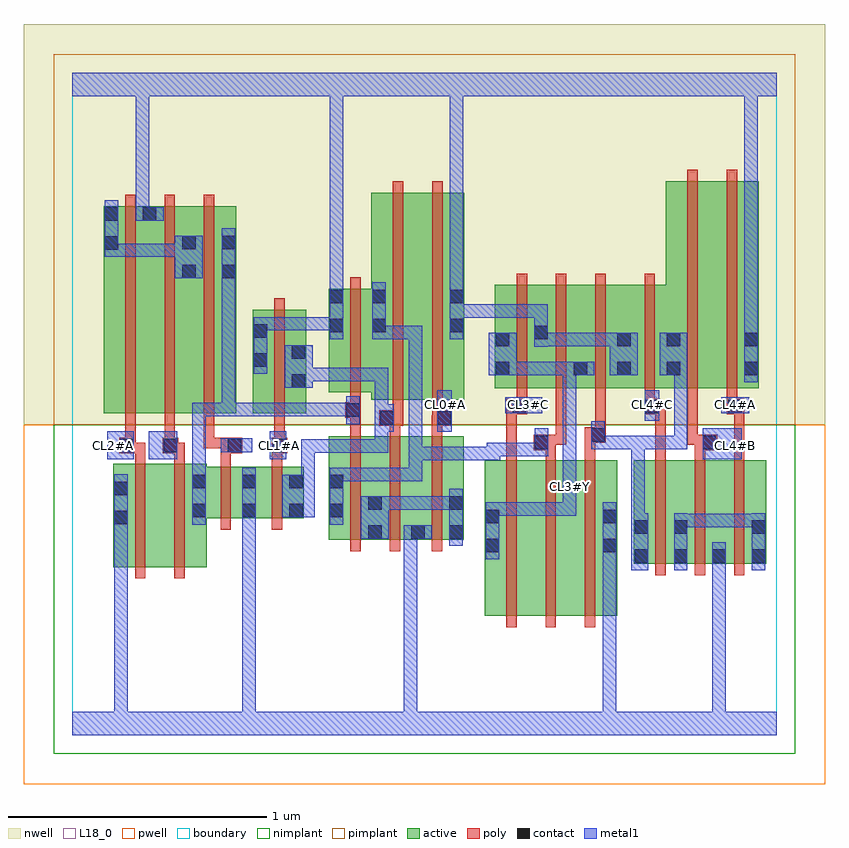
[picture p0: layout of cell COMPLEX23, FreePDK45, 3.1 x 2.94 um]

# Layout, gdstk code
import gdstk
lib = gdstk.Library(unit=1e-6, precision=1e-09)
def R(c, l, rs):  # rectangles x0, y0, x1, y1
    for r in rs: c.add(gdstk.rectangle(r[:2], r[2:], *l))
def A(c, l, x, y, w, h, nx, ny, dx, dy):  # array of equal rectangles
    R(c, l, [(x+i*dx, y+j*dy, x+i*dx+w, y+j*dy+h) for i in range(nx) for j in range(ny)])
active = (1, 0)
pwell = (2, 0)
nwell = (3, 0)
nimplant = (4, 0)
pimplant = (5, 0)
poly = (9, 0)
contact = (10, 0)
metal1 = (11, 0)
L18_0 = (18, 0)
boundary = (235, 0)

complex23 = lib.new_cell('COMPLEX23')
R(complex23, active, [(1.592,0.462,1.772,1.062), (1.772,0.462,1.924,1.062), (1.924,0.462,2.104,1.062), (1.592,0.504,1.652,1.062), (2.044,0.504,2.104,1.062), (0.158,0.65,0.338,1.05), (0.338,0.65,0.518,1.05), (2.168,0.662,2.228,1.062), (2.168,0.662,2.38,1.062), (2.32,0.662,2.528,1.062), (2.32,0.662,2.38,0.834), (2.468,0.662,2.68,1.062), (2.468,0.662,2.528,0.874), (2.62,0.662,2.68,1.062), (0.158,0.756,0.218,1.05), (0.99,0.756,1.05,1.156), (0.99,0.756,1.198,1.156), (1.138,0.756,1.364,1.156), (1.138,0.756,1.198,0.96), (1.304,0.756,1.512,1.156), (1.304,0.756,1.364,0.816), (1.452,0.756,1.512,1.156), (0.458,0.838,0.712,1.038), (0.458,0.838,0.518,1.022), (0.652,0.838,0.712,1.01), (0.652,0.838,0.894,1.038), (0.834,0.838,0.894,1.038), (0.12,1.244,0.18,2.044), (0.12,1.244,0.328,2.044), (0.268,1.244,0.48,2.044), (0.42,1.244,0.632,2.044), (0.572,1.244,0.632,2.044), (0.696,1.244,0.756,1.644), (0.696,1.244,0.904,1.644), (0.844,1.244,0.904,1.644), (1.154,1.296,1.334,2.096), (1.334,1.296,1.514,2.096), (1.454,1.296,1.514,2.044), (0.268,1.314,0.328,2.044), (0.42,1.314,0.48,2.044), (0.99,1.326,1.05,1.726), (0.99,1.326,1.214,1.726), (1.632,1.34,1.84,1.74), (1.632,1.34,1.692,1.644), (1.78,1.34,1.992,1.74), (1.78,1.34,1.84,1.644), (1.932,1.34,1.992,1.644), (1.932,1.34,2.16,1.74), (2.1,1.34,2.16,1.644), (2.1,1.34,2.352,1.74), (2.292,1.34,2.472,2.14), (2.292,1.34,2.352,1.644), (2.472,1.34,2.652,2.14), (2.592,1.34,2.652,2.044), (1.154,1.384,1.214,2.078)])
R(complex23, pwell, [(-0.188,-0.188,2.908,1.2)])
R(complex23, nwell, [(-0.188,1.2,2.908,2.748)])
R(complex23, nimplant, [(-0.072,-0.072,2.792,1.2)])
R(complex23, pimplant, [(-0.072,1.2,2.792,2.632)])
A(complex23, poly, 1.676, 0.418, 0.04, 0.688, 3, 1, 0.152, 0)
A(complex23, poly, 2.252, 0.618, 0.04, 0.488, 3, 1, 0.152, 0)
A(complex23, poly, 0.204, 1.11, 0.04, 0.13, 3, 1, 0.152, 0)
A(complex23, poly, 0.204, 1.2, 0.04, 0.888, 3, 1, 0.152, 0)
A(complex23, poly, 1.716, 1.296, 0.04, 0.488, 3, 1, 0.152, 0)
R(complex23, poly, [(0.242,0.606,0.282,1.094), (0.394,0.606,0.434,1.094), (1.074,0.712,1.114,1.2), (1.226,0.712,1.266,1.2), (1.388,0.712,1.428,1.2), (0.572,0.794,0.612,1.082), (0.77,0.794,0.81,1.082), (0.572,1.042,0.612,1.13), (0.77,1.042,0.81,1.13), (0.242,1.054,0.282,1.13), (0.394,1.054,0.434,1.13), (1.676,1.066,1.716,1.28), (1.828,1.066,1.868,1.142), (1.98,1.066,2.02,1.17), (2.252,1.066,2.292,1.28), (2.404,1.066,2.444,1.142), (2.556,1.066,2.596,1.28), (0.18,1.09,0.244,1.15), (0.204,1.09,0.244,1.13), (0.204,1.09,0.282,1.13), (0.348,1.09,0.408,1.15), (0.368,1.09,0.408,1.13), (0.368,1.09,0.434,1.13), (0.572,1.09,0.656,1.15), (0.77,1.09,0.83,1.15), (1.782,1.102,1.868,1.162), (2.404,1.102,2.49,1.162), (0.508,1.11,0.612,1.15), (0.572,1.11,0.612,1.15), (0.78,1.11,0.82,1.15), (0.78,1.11,0.82,1.15), (0.78,1.11,0.82,1.24), (1.828,1.122,1.868,1.162), (1.828,1.122,1.908,1.162), (1.868,1.122,1.908,1.336), (2.376,1.122,2.416,1.336), (2.376,1.122,2.444,1.162), (2.404,1.122,2.444,1.162), (1.98,1.13,2.06,1.19), (2.02,1.15,2.06,1.3), (1.074,1.16,1.114,1.266), (1.226,1.16,1.266,1.236), (1.388,1.16,1.428,1.236), (1.186,1.196,1.278,1.256), (1.226,1.196,1.266,1.236), (1.226,1.196,1.266,1.236), (1.388,1.196,1.43,1.236), (1.39,1.196,1.43,1.236), (1.39,1.196,1.466,1.256), (0.78,1.2,0.82,1.688), (1.238,1.216,1.278,1.292), (1.39,1.216,1.43,1.292), (1.054,1.226,1.114,1.286), (1.074,1.226,1.114,1.266), (1.074,1.226,1.114,1.266), (1.676,1.24,1.716,1.28), (1.676,1.24,1.716,1.28), (1.676,1.24,1.756,1.3), (2.21,1.24,2.27,1.3), (2.23,1.24,2.27,1.28), (2.23,1.24,2.292,1.28), (2.528,1.24,2.596,1.3), (2.556,1.24,2.596,1.28), (2.556,1.24,2.596,1.28), (1.074,1.246,1.114,1.322), (1.238,1.252,1.278,2.14), (1.39,1.252,1.43,2.14), (1.716,1.26,1.756,1.336), (2.02,1.26,2.06,1.336), (2.02,1.26,2.06,1.3), (2.21,1.26,2.25,1.336), (2.528,1.26,2.568,1.336), (1.074,1.282,1.114,1.77), (2.21,1.296,2.25,1.784), (2.376,1.296,2.416,2.184), (2.528,1.296,2.568,2.184)])
R(complex23, contact, [(2.172,0.666,2.224,0.718), (2.324,0.666,2.376,0.718), (2.472,0.666,2.524,0.718), (2.624,0.666,2.676,0.718), (1.596,0.708,1.648,0.76), (2.048,0.708,2.1,0.76), (1.142,0.76,1.194,0.812), (1.308,0.76,1.36,0.812), (1.456,0.76,1.508,0.812), (2.172,0.778,2.224,0.83), (2.324,0.778,2.376,0.83), (2.624,0.778,2.676,0.83), (0.162,0.816,0.214,0.868), (1.596,0.82,1.648,0.872), (2.048,0.82,2.1,0.872), (0.462,0.842,0.514,0.894), (0.656,0.842,0.708,0.894), (0.838,0.842,0.89,0.894), (0.994,0.842,1.046,0.894), (1.142,0.872,1.194,0.924), (1.456,0.872,1.508,0.924), (0.162,0.928,0.214,0.98), (0.462,0.954,0.514,1.006), (0.656,0.954,0.708,1.006), (0.838,0.954,0.89,1.006), (0.994,0.954,1.046,1.006), (0.184,1.094,0.236,1.146), (0.352,1.094,0.404,1.146), (0.6,1.094,0.652,1.146), (0.774,1.094,0.826,1.146), (1.786,1.106,1.838,1.158), (2.434,1.106,2.486,1.158), (2.004,1.134,2.056,1.186), (1.19,1.2,1.242,1.252), (1.41,1.2,1.462,1.252), (1.058,1.23,1.11,1.282), (1.7,1.244,1.752,1.296), (2.214,1.244,2.266,1.296), (2.534,1.244,2.586,1.296), (0.848,1.342,0.9,1.394), (1.636,1.392,1.688,1.444), (1.936,1.392,1.988,1.444), (2.104,1.392,2.156,1.444), (2.296,1.392,2.348,1.444), (2.596,1.392,2.648,1.444), (0.7,1.424,0.752,1.476), (0.848,1.454,0.9,1.506), (1.636,1.504,1.688,1.556), (2.104,1.504,2.156,1.556), (2.296,1.504,2.348,1.556), (2.596,1.504,2.648,1.556), (1.784,1.53,1.836,1.582), (0.7,1.536,0.752,1.588), (0.994,1.558,1.046,1.61), (1.158,1.558,1.21,1.61), (1.458,1.558,1.51,1.61), (0.994,1.67,1.046,1.722), (1.158,1.67,1.21,1.722), (1.458,1.67,1.51,1.722), (0.424,1.766,0.476,1.818), (0.576,1.766,0.628,1.818), (0.124,1.876,0.176,1.928), (0.424,1.878,0.476,1.93), (0.576,1.878,0.628,1.93), (0.124,1.988,0.176,2.04), (0.272,1.988,0.324,2.04)])
R(complex23, metal1, [(0,0,2.72,0.092), (0.162,0.04,0.214,0.092), (0.162,0.04,0.214,0.092), (0.162,0.04,0.214,0.092), (0.162,0.04,0.214,0.092), (0.162,0.04,0.214,0.092), (0.162,0.04,0.214,0.092), (0.162,0.04,0.214,0.092), (0.162,0.04,0.214,0.092), (0.162,0.04,0.214,0.092), (0.162,0.04,0.214,0.092), (0.162,0.04,0.214,0.84), (0.656,0.04,0.708,0.092), (0.656,0.04,0.708,0.092), (0.656,0.04,0.708,0.092), (0.656,0.04,0.708,0.092), (0.656,0.04,0.708,0.092), (0.656,0.04,0.708,0.092), (0.656,0.04,0.708,0.092), (0.656,0.04,0.708,0.092), (0.656,0.04,0.708,0.092), (0.656,0.04,0.708,0.092), (0.656,0.04,0.708,0.092), (0.656,0.04,0.708,0.092), (0.656,0.04,0.708,0.092), (0.656,0.04,0.708,0.092), (0.656,0.04,0.708,0.866), (1.28,0.04,1.332,0.812), (2.048,0.04,2.1,0.092), (2.048,0.04,2.1,0.092), (2.048,0.04,2.1,0.732), (2.472,0.04,2.524,0.092), (2.472,0.04,2.524,0.092), (2.472,0.04,2.524,0.092), (2.472,0.04,2.524,0.092), (2.472,0.04,2.524,0.092), (2.472,0.04,2.524,0.092), (2.472,0.04,2.524,0.092), (2.472,0.04,2.524,0.092), (2.472,0.04,2.524,0.092), (2.472,0.04,2.524,0.092), (2.472,0.04,2.524,0.092), (2.472,0.04,2.524,0.092), (2.472,0.04,2.524,0.69), (2.158,0.638,2.224,0.858), (2.324,0.638,2.376,0.858), (2.472,0.638,2.524,0.746), (2.624,0.638,2.676,0.858), (1.596,0.68,1.648,0.9), (2.048,0.68,2.1,0.732), (2.048,0.68,2.1,0.732), (2.048,0.68,2.1,0.732), (2.048,0.68,2.1,0.732), (2.048,0.68,2.1,0.732), (2.048,0.68,2.1,0.732), (2.048,0.68,2.1,0.9), (1.456,0.732,1.508,0.952), (1.114,0.76,1.222,0.924), (1.28,0.76,1.332,0.812), (1.28,0.76,1.332,0.812), (1.28,0.76,1.332,0.812), (1.28,0.76,1.332,0.812), (1.28,0.76,1.332,0.812), (1.28,0.76,1.332,0.812), (1.28,0.76,1.332,0.812), (1.28,0.76,1.332,0.812), (1.28,0.76,1.332,0.812), (1.28,0.76,1.332,0.812), (1.28,0.76,1.332,0.812), (1.28,0.76,1.332,0.812), (1.28,0.76,1.388,0.812), (0.162,0.788,0.214,0.84), (0.162,0.788,0.214,0.84), (0.162,0.788,0.214,1.008), (2.324,0.804,2.376,0.856), (2.324,0.804,2.376,0.856), (2.324,0.804,2.538,0.856), (2.486,0.804,2.538,0.856), (2.486,0.804,2.538,0.856), (2.486,0.804,2.538,0.856), (2.486,0.804,2.676,0.856), (2.158,0.806,2.21,1.158), (0.462,0.814,0.514,1.034), (0.656,0.814,0.708,0.866), (0.656,0.814,0.708,0.866), (0.656,0.814,0.708,1.034), (0.994,0.814,1.046,1.034), (0.81,0.842,0.936,1.006), (1.596,0.848,1.648,0.9), (1.596,0.848,1.648,0.9), (1.596,0.848,1.836,0.9), (1.784,0.848,1.836,0.9), (1.784,0.848,1.836,0.9), (1.784,0.848,1.836,0.9), (1.784,0.848,1.946,0.9), (1.894,0.848,1.946,0.9), (1.894,0.848,1.946,0.958), (1.17,0.872,1.222,0.924), (1.17,0.872,1.222,0.924), (1.17,0.872,1.332,0.924), (1.28,0.872,1.332,0.924), (1.28,0.872,1.41,0.924), (1.358,0.872,1.41,0.924), (1.358,0.872,1.508,0.924), (1.894,0.906,1.946,1.014), (0.884,0.954,0.936,1.144), (1.894,0.962,1.946,1.444), (0.462,0.982,0.514,1.034), (0.462,0.982,0.514,1.034), (0.462,0.982,0.514,1.284), (0.994,0.982,1.046,1.034), (0.994,0.982,1.046,1.034), (0.994,0.982,1.222,1.034), (1.17,0.982,1.222,1.034), (1.17,0.982,1.222,1.034), (1.17,0.982,1.222,1.034), (1.17,0.982,1.352,1.034), (1.3,0.982,1.352,1.034), (1.3,0.982,1.352,1.114), (1.3,1.062,1.352,1.114), (1.3,1.062,1.352,1.114), (1.3,1.062,1.352,1.114), (1.3,1.062,1.352,1.114), (1.3,1.062,1.352,1.114), (1.3,1.062,1.352,1.114), (1.3,1.062,1.352,1.114), (1.3,1.062,1.52,1.114), (1.3,1.062,1.352,1.582), (1.468,1.062,1.52,1.114), (1.468,1.062,1.52,1.114), (1.468,1.062,1.52,1.114), (1.468,1.062,1.652,1.114), (1.6,1.062,1.652,1.13), (0.134,1.066,0.236,1.174), (0.294,1.066,0.404,1.174), (0.762,1.066,0.826,1.174), (2.434,1.066,2.586,1.186), (1.6,1.078,1.836,1.13), (1.784,1.078,1.836,1.13), (1.784,1.078,1.838,1.13), (1.786,1.078,1.838,1.186), (0.884,1.092,0.936,1.144), (0.884,1.092,1.056,1.144), (1.004,1.092,1.056,1.144), (1.004,1.092,1.056,1.144), (1.004,1.092,1.056,1.144), (1.004,1.092,1.22,1.144), (1.168,1.092,1.22,1.144), (1.168,1.092,1.22,1.224), (0.572,1.094,0.694,1.148), (2.004,1.106,2.056,1.214), (2.004,1.106,2.1,1.158), (2.048,1.106,2.1,1.158), (2.048,1.106,2.21,1.158), (2.158,1.106,2.21,1.158), (2.158,1.106,2.21,1.158), (2.158,1.106,2.21,1.158), (2.158,1.106,2.376,1.158), (2.324,1.106,2.376,1.158), (2.324,1.106,2.376,1.444), (1.168,1.172,1.22,1.224), (1.168,1.172,1.242,1.224), (1.168,1.172,1.22,1.42), (1.19,1.172,1.242,1.28), (1.41,1.172,1.466,1.334), (1.058,1.202,1.11,1.31), (2.21,1.216,2.266,1.334), (0.462,1.232,0.514,1.284), (0.462,1.232,0.514,1.284), (0.462,1.232,0.514,1.284), (0.462,1.232,0.628,1.284), (0.576,1.232,0.628,1.284), (0.576,1.232,0.628,1.284), (0.576,1.232,0.628,1.284), (0.576,1.232,0.826,1.284), (0.576,1.232,0.628,1.79), (0.774,1.232,0.826,1.284), (0.774,1.232,0.936,1.284), (0.884,1.232,0.936,1.284), (0.884,1.232,0.936,1.284), (0.884,1.232,0.936,1.284), (0.884,1.232,1.11,1.284), (1.672,1.244,1.814,1.306), (2.506,1.244,2.614,1.306), (0.82,1.342,0.928,1.506), (2.596,1.364,2.648,1.584), (0.876,1.368,1.056,1.42), (1.004,1.368,1.056,1.42), (1.004,1.368,1.056,1.42), (1.004,1.368,1.056,1.42), (1.004,1.368,1.22,1.42), (1.168,1.368,1.22,1.42), (1.608,1.392,1.716,1.556), (1.664,1.392,1.716,1.444), (1.664,1.392,1.716,1.444), (1.664,1.392,1.826,1.444), (1.774,1.392,1.826,1.444), (1.774,1.392,1.826,1.444), (1.774,1.392,1.826,1.444), (1.774,1.392,1.96,1.444), (1.894,1.392,1.96,1.444), (1.908,1.392,1.96,1.444), (1.908,1.392,2.016,1.444), (2.076,1.392,2.184,1.556), (2.268,1.392,2.376,1.556), (2.324,1.392,2.376,1.444), (2.324,1.392,2.376,1.444), (0.7,1.396,0.752,1.616), (1.784,1.502,1.836,1.61), (1.784,1.504,1.836,1.556), (1.784,1.504,1.836,1.556), (1.784,1.504,1.99,1.556), (1.938,1.504,1.99,1.556), (1.938,1.504,1.99,1.556), (1.938,1.504,1.99,1.556), (1.938,1.504,2.128,1.556), (0.994,1.53,1.046,1.75), (1.158,1.53,1.21,1.75), (1.158,1.53,1.22,1.582), (1.168,1.53,1.22,1.582), (1.168,1.53,1.352,1.582), (1.3,1.53,1.352,1.582), (1.458,1.53,1.51,1.75), (2.596,1.532,2.648,1.584), (2.596,1.532,2.648,1.584), (2.596,1.532,2.648,2.52), (1.784,1.558,1.836,1.61), (1.784,1.558,1.836,1.61), (1.784,1.558,1.836,1.666), (0.7,1.564,0.752,1.616), (0.7,1.564,0.752,1.616), (0.7,1.564,0.872,1.616), (0.82,1.564,0.872,1.616), (0.82,1.564,1.046,1.616), (1.458,1.614,1.63,1.666), (1.578,1.614,1.63,1.666), (1.578,1.614,1.63,1.666), (1.578,1.614,1.63,1.666), (1.578,1.614,1.63,1.666), (1.578,1.614,1.63,1.666), (1.578,1.614,1.63,1.666), (1.578,1.614,1.63,1.666), (1.578,1.614,1.836,1.666), (1.784,1.614,1.836,1.666), (0.994,1.698,1.046,1.75), (0.994,1.698,1.046,1.75), (0.994,1.698,1.046,1.75), (0.994,1.698,1.046,1.75), (0.994,1.698,1.046,1.75), (0.994,1.698,1.046,1.75), (0.994,1.698,1.046,1.75), (0.994,1.698,1.046,1.75), (0.994,1.698,1.046,1.75), (0.994,1.698,1.046,1.75), (0.994,1.698,1.046,2.52), (1.458,1.698,1.51,2.52), (0.576,1.738,0.628,1.958), (0.396,1.766,0.504,1.93), (0.124,1.848,0.176,1.9), (0.124,1.848,0.176,1.9), (0.124,1.848,0.176,2.068), (0.124,1.848,0.324,1.9), (0.272,1.848,0.324,1.9), (0.272,1.848,0.324,1.9), (0.272,1.848,0.324,1.9), (0.272,1.848,0.448,1.9), (0.244,1.988,0.296,2.04), (0.244,1.988,0.296,2.04), (0.244,1.988,0.352,2.04), (0.244,1.988,0.296,2.52), (0,2.468,2.72,2.56), (0.244,2.468,0.296,2.52), (0.244,2.468,0.296,2.52), (0.244,2.468,0.296,2.52), (0.244,2.468,0.296,2.52), (0.244,2.468,0.296,2.52), (0.244,2.468,0.296,2.52), (0.994,2.468,1.046,2.52), (0.994,2.468,1.046,2.52), (0.994,2.468,1.046,2.52), (0.994,2.468,1.046,2.52), (0.994,2.468,1.046,2.52), (0.994,2.468,1.046,2.52), (1.458,2.468,1.51,2.52), (1.458,2.468,1.51,2.52), (1.458,2.468,1.51,2.52), (1.458,2.468,1.51,2.52), (1.458,2.468,1.51,2.52), (1.458,2.468,1.51,2.52), (1.458,2.468,1.51,2.52), (1.458,2.468,1.51,2.52), (2.596,2.468,2.648,2.52), (2.596,2.468,2.648,2.52), (2.596,2.468,2.648,2.52), (2.596,2.468,2.648,2.52), (2.596,2.468,2.648,2.52), (2.596,2.468,2.648,2.52)])
R(complex23, L18_0, [(0,0,2.72,0.092), (0.162,0.04,0.214,0.092), (0.162,0.04,0.214,0.092), (0.162,0.04,0.214,0.092), (0.162,0.04,0.214,0.092), (0.162,0.04,0.214,0.092), (0.162,0.04,0.214,0.092), (0.162,0.04,0.214,0.092), (0.162,0.04,0.214,0.092), (0.162,0.04,0.214,0.092), (0.162,0.04,0.214,0.092), (0.162,0.04,0.214,0.84), (0.656,0.04,0.708,0.092), (0.656,0.04,0.708,0.092), (0.656,0.04,0.708,0.092), (0.656,0.04,0.708,0.092), (0.656,0.04,0.708,0.092), (0.656,0.04,0.708,0.092), (0.656,0.04,0.708,0.092), (0.656,0.04,0.708,0.092), (0.656,0.04,0.708,0.092), (0.656,0.04,0.708,0.092), (0.656,0.04,0.708,0.092), (0.656,0.04,0.708,0.092), (0.656,0.04,0.708,0.092), (0.656,0.04,0.708,0.092), (0.656,0.04,0.708,0.866), (1.28,0.04,1.332,0.812), (2.048,0.04,2.1,0.092), (2.048,0.04,2.1,0.092), (2.048,0.04,2.1,0.732), (2.472,0.04,2.524,0.092), (2.472,0.04,2.524,0.092), (2.472,0.04,2.524,0.092), (2.472,0.04,2.524,0.092), (2.472,0.04,2.524,0.092), (2.472,0.04,2.524,0.092), (2.472,0.04,2.524,0.092), (2.472,0.04,2.524,0.092), (2.472,0.04,2.524,0.092), (2.472,0.04,2.524,0.092), (2.472,0.04,2.524,0.092), (2.472,0.04,2.524,0.092), (2.472,0.04,2.524,0.69), (2.472,0.638,2.524,0.746), (1.596,0.68,1.648,0.9), (2.048,0.68,2.1,0.732), (2.048,0.68,2.1,0.732), (2.048,0.68,2.1,0.732), (2.048,0.68,2.1,0.732), (2.048,0.68,2.1,0.732), (2.048,0.68,2.1,0.732), (2.048,0.68,2.1,0.9), (1.28,0.76,1.332,0.812), (1.28,0.76,1.332,0.812), (1.28,0.76,1.332,0.812), (1.28,0.76,1.332,0.812), (1.28,0.76,1.332,0.812), (1.28,0.76,1.332,0.812), (1.28,0.76,1.332,0.812), (1.28,0.76,1.332,0.812), (1.28,0.76,1.332,0.812), (1.28,0.76,1.332,0.812), (1.28,0.76,1.332,0.812), (1.28,0.76,1.332,0.812), (1.28,0.76,1.388,0.812), (0.162,0.788,0.214,0.84), (0.162,0.788,0.214,0.84), (0.162,0.788,0.214,1.008), (0.656,0.814,0.708,0.866), (0.656,0.814,0.708,0.866), (0.656,0.814,0.708,1.034), (1.596,0.848,1.648,0.9), (1.596,0.848,1.648,0.9), (1.596,0.848,1.836,0.9), (1.784,0.848,1.836,0.9), (1.784,0.848,1.836,0.9), (1.784,0.848,1.836,0.9), (1.784,0.848,1.946,0.9), (1.894,0.848,1.946,0.9), (1.894,0.848,1.946,0.958), (1.894,0.906,1.946,1.014), (1.894,0.934,1.946,0.986), (1.894,0.962,1.946,1.444), (0.134,1.066,0.236,1.174), (0.294,1.066,0.404,1.174), (0.762,1.066,0.826,1.174), (2.434,1.066,2.586,1.186), (0.134,1.094,0.186,1.146), (0.294,1.094,0.346,1.146), (0.572,1.094,0.694,1.148), (0.614,1.094,0.666,1.146), (0.774,1.094,0.826,1.146), (2.534,1.094,2.586,1.146), (1.41,1.172,1.466,1.334), (2.21,1.216,2.266,1.334), (1.672,1.244,1.814,1.306), (2.506,1.244,2.614,1.306), (1.414,1.254,1.466,1.306), (1.734,1.254,1.786,1.306), (2.214,1.254,2.266,1.306), (2.534,1.254,2.586,1.306), (2.596,1.364,2.648,1.584), (1.608,1.392,1.716,1.556), (1.664,1.392,1.716,1.444), (1.664,1.392,1.716,1.444), (1.664,1.392,1.826,1.444), (1.774,1.392,1.826,1.444), (1.774,1.392,1.826,1.444), (1.774,1.392,1.826,1.444), (1.774,1.392,1.96,1.444), (1.894,1.392,1.96,1.444), (1.908,1.392,1.96,1.444), (1.908,1.392,2.016,1.444), (2.076,1.392,2.184,1.556), (0.7,1.396,0.752,1.616), (1.784,1.502,1.836,1.61), (1.784,1.504,1.836,1.556), (1.784,1.504,1.836,1.556), (1.784,1.504,1.99,1.556), (1.938,1.504,1.99,1.556), (1.938,1.504,1.99,1.556), (1.938,1.504,1.99,1.556), (1.938,1.504,2.128,1.556), (0.994,1.53,1.046,1.75), (1.458,1.53,1.51,1.75), (2.596,1.532,2.648,1.584), (2.596,1.532,2.648,1.584), (2.596,1.532,2.648,2.52), (1.784,1.558,1.836,1.61), (1.784,1.558,1.836,1.61), (1.784,1.558,1.836,1.666), (0.7,1.564,0.752,1.616), (0.7,1.564,0.752,1.616), (0.7,1.564,0.872,1.616), (0.82,1.564,0.872,1.616), (0.82,1.564,1.046,1.616), (1.458,1.614,1.63,1.666), (1.578,1.614,1.63,1.666), (1.578,1.614,1.63,1.666), (1.578,1.614,1.63,1.666), (1.578,1.614,1.63,1.666), (1.578,1.614,1.63,1.666), (1.578,1.614,1.63,1.666), (1.578,1.614,1.63,1.666), (1.578,1.614,1.836,1.666), (1.784,1.614,1.836,1.666), (0.994,1.698,1.046,1.75), (0.994,1.698,1.046,1.75), (0.994,1.698,1.046,1.75), (0.994,1.698,1.046,1.75), (0.994,1.698,1.046,1.75), (0.994,1.698,1.046,1.75), (0.994,1.698,1.046,1.75), (0.994,1.698,1.046,1.75), (0.994,1.698,1.046,1.75), (0.994,1.698,1.046,1.75), (0.994,1.698,1.046,2.52), (1.458,1.698,1.51,2.52), (0.244,1.988,0.296,2.04), (0.244,1.988,0.296,2.04), (0.244,1.988,0.352,2.04), (0.244,1.988,0.296,2.52), (0,2.468,2.72,2.56), (0.244,2.468,0.296,2.52), (0.244,2.468,0.296,2.52), (0.244,2.468,0.296,2.52), (0.244,2.468,0.296,2.52), (0.244,2.468,0.296,2.52), (0.244,2.468,0.296,2.52), (0.994,2.468,1.046,2.52), (0.994,2.468,1.046,2.52), (0.994,2.468,1.046,2.52), (0.994,2.468,1.046,2.52), (0.994,2.468,1.046,2.52), (0.994,2.468,1.046,2.52), (1.458,2.468,1.51,2.52), (1.458,2.468,1.51,2.52), (1.458,2.468,1.51,2.52), (1.458,2.468,1.51,2.52), (1.458,2.468,1.51,2.52), (1.458,2.468,1.51,2.52), (1.458,2.468,1.51,2.52), (1.458,2.468,1.51,2.52), (2.596,2.468,2.648,2.52), (2.596,2.468,2.648,2.52), (2.596,2.468,2.648,2.52), (2.596,2.468,2.648,2.52), (2.596,2.468,2.648,2.52), (2.596,2.468,2.648,2.52)])
R(complex23, boundary, [(0,0,2.72,2.56)])
complex23.add(gdstk.Label('CL0#A', (1.44,1.28), layer=11, texttype=0))
complex23.add(gdstk.Label('CL1#A', (0.8,1.12), layer=11, texttype=0))
complex23.add(gdstk.Label('CL2#A', (0.16,1.12), layer=11, texttype=0))
complex23.add(gdstk.Label('CL2#B', (0.32,1.12), layer=11, texttype=0))
complex23.add(gdstk.Label('CL2#C', (0.64,1.12), layer=11, texttype=0))
complex23.add(gdstk.Label('CL3#C', (1.76,1.28), layer=11, texttype=0))
complex23.add(gdstk.Label('CL3#Y', (1.92,0.96), layer=11, texttype=0))
complex23.add(gdstk.Label('CL4#A', (2.56,1.28), layer=11, texttype=0))
complex23.add(gdstk.Label('CL4#B', (2.56,1.12), layer=11, texttype=0))
complex23.add(gdstk.Label('CL4#C', (2.24,1.28), layer=11, texttype=0))

lib.write_gds('COMPLEX23.gds')
